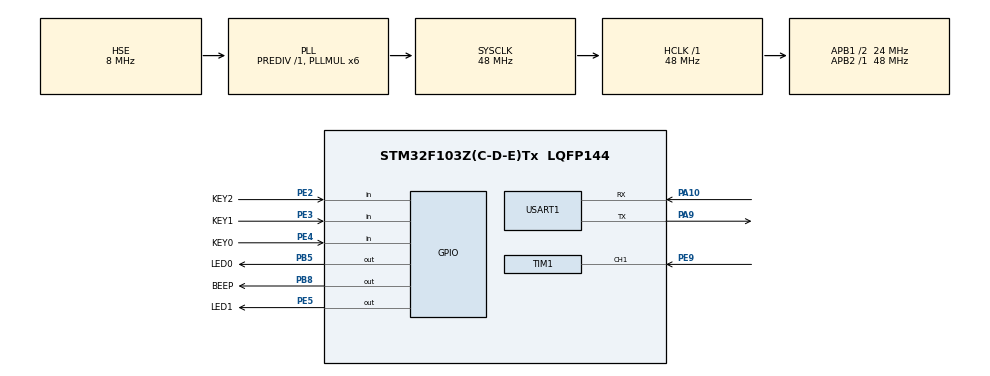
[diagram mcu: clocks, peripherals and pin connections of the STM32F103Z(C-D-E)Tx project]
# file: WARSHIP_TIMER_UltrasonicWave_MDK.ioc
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Mcu.Family=STM32F1
Mcu.Name=STM32F103Z(C-D-E)Tx
Mcu.Package=LQFP144
NVIC.PriorityGroup=NVIC_PRIORITYGROUP_4
NVIC.TIM1_UP_IRQn=true\:0\:0\:false\:false\:true\:true\:true\:true
NVIC.USART1_IRQn=true\:0\:0\:false\:false\:true\:true\:true\:true
OSC_IN.Mode=HSE-External-Oscillator
OSC_IN.Signal=RCC_OSC_IN
OSC_OUT.Mode=HSE-External-Oscillator
OSC_OUT.Signal=RCC_OSC_OUT
PA0-WKUP.Mode=SYS_WakeUp0
PA0-WKUP.Signal=SYS_WKUP
PA10.Mode=Asynchronous
PA10.Signal=USART1_RX
PA13.Mode=Serial_Wire
PA13.Signal=SYS_JTMS-SWDIO
PA14.Mode=Serial_Wire
PA14.Signal=SYS_JTCK-SWCLK
PA9.Mode=Asynchronous
PA9.Signal=USART1_TX
PB12.Signal=SPI2_NSS
PB5.GPIO_Label=LED0
PB5.GPIO_ModeDefaultOutputPP=GPIO_MODE_OUTPUT_OD
PB5.GPIO_PuPd=GPIO_NOPULL
PB5.PinState=GPIO_PIN_SET
PB5.Signal=GPIO_Output
PB8.GPIO_Label=BEEP
PB8.Signal=GPIO_Output
PC14-OSC32_IN.Mode=LSE-External-Oscillator
PC14-OSC32_IN.Signal=RCC_OSC32_IN
PC15-OSC32_OUT.Mode=LSE-External-Oscillator
PC15-OSC32_OUT.Signal=RCC_OSC32_OUT
PE2.GPIO_Label=KEY2
PE2.Signal=GPIO_Input
PE3.GPIO_Label=KEY1
PE3.Signal=GPIO_Input
PE4.GPIO_Label=KEY0
PE4.Signal=GPIO_Input
PE5.GPIO_Label=LED1
PE5.GPIO_ModeDefaultOutputPP=GPIO_MODE_OUTPUT_OD
PE5.GPIO_PuPd=GPIO_NOPULL
PE5.PinState=GPIO_PIN_SET
PE5.Signal=GPIO_Output
PE9.Signal=S_TIM1_CH1
ProjectManager.HeapSize=0x200
ProjectManager.StackSize=0x400
ProjectManager.TargetToolchain=MDK-ARM V5.32
RCC.ADCPresc=RCC_ADCPCLK2_DIV4
RCC.AHBFreq_Value=48000000
RCC.APB1CLKDivider=RCC_HCLK_DIV2
RCC.APB1Freq_Value=24000000
RCC.APB1TimFreq_Value=48000000
RCC.APB2Freq_Value=48000000
RCC.APB2TimFreq_Value=48000000
RCC.HCLKFreq_Value=48000000
RCC.PLLMUL=RCC_PLL_MUL6
RCC.PLLSourceVirtual=RCC_PLLSOURCE_HSE
RCC.SYSCLKFreq_VALUE=48000000
RCC.SYSCLKSource=RCC_SYSCLKSOURCE_PLLCLK
RCC.USBFreq_Value=48000000
SH.S_TIM1_CH1.0=TIM1_CH1,Input_Capture1_from_TI1
TIM1.AutoReloadPreload=TIM_AUTORELOAD_PRELOAD_ENABLE
TIM1.Channel-Input_Capture1_from_TI1=TIM_CHANNEL_1
TIM1.Channel-Input_Capture2_from_TI1_63=TIM_CHANNEL_2
TIM1.ICPolarity_CH2=TIM_INPUTCHANNELPOLARITY_FALLING
TIM1.Period=65535
TIM1.Prescaler=7
USART1.VirtualMode=VM_ASYNC
VP_RTC_VS_RTC_Activate.Mode=RTC_Enabled
VP_TIM1_VS_ClockSourceINT.Mode=Internal
VP_TIM1_VS_indirect_ch1.Mode=Input_Capture2_from_TI1_63
board=custom

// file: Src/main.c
/* USER CODE BEGIN Header */
/**
  ******************************************************************************
  * @file           : main.c
  * @brief          : Main program body
  ******************************************************************************
  * @attention
  *
  * Copyright (c) 2026 STMicroelectronics.
  * All rights reserved.
  *
  * This software is licensed under terms that can be found in the LICENSE file
  * in the root directory of this software component.
  * If no LICENSE file comes with this software, it is provided AS-IS.
  *
  ******************************************************************************
  */
/* USER CODE END Header */
#include "main.h"
#include "rtc.h"
#include "tim.h"
#include "usart.h"
#include "gpio.h"

void SystemClock_Config(void);

int main(void)
{

  /* MCU Configuration--------------------------------------------------------*/

  /* Reset of all peripherals, Initializes the Flash interface and the Systick. */
  HAL_Init();

  /* Configure the system clock */
  SystemClock_Config();

  /* Initialize all configured peripherals */
  MX_GPIO_Init();
  MX_RTC_Init();
  MX_USART1_UART_Init();
  MX_TIM1_Init();

  /* Infinite loop */
  /* USER CODE BEGIN WHILE */
  while (1)
  {
    __HAL_TIM_SET_COUNTER(&htim1,0); // reset counter

    __HAL_TIM_CLEAR_FLAG(&htim1,TIM_FLAG_CC1); // clear capture flag CC1
    __HAL_TIM_CLEAR_FLAG(&htim1,TIM_FLAG_CC2); // clear capture flag CC2

    HAL_TIM_IC_Start(&htim1,TIM_CHANNEL_1); // start input capture on channel 1
    HAL_TIM_IC_Start(&htim1,TIM_CHANNEL_2); // start input capture on channel 2

    HAL_GPIO_WritePin(KEY2_GPIO_Port,KEY2_Pin,GPIO_PIN_SET); // set KEY2 low to start measurement

    for(uint32_t i=0;i<10;i++); // small delay to allow signal to stabilize 10us

    HAL_GPIO_WritePin(KEY2_GPIO_Port,KEY2_Pin,GPIO_PIN_RESET); // set KEY2 high to end measurement

    uint8_t success = 0;
    uint32_t expireTime = HAL_GetTick() + 50;

    while(expireTime > HAL_GetTick())
    {
      uint32_t cc1Flag = __HAL_TIM_GET_FLAG(&htim1,TIM_FLAG_CC1); // read capture flag CC1
      uint32_t cc2Flag = __HAL_TIM_GET_FLAG(&htim1,TIM_FLAG_CC2); // read capture flag CC2
      if(cc1Flag && cc2Flag)
      {
        success = 1;
        break;
      }
    }

    HAL_TIM_IC_Stop(&htim1,TIM_CHANNEL_1); // stop input capture on channel 1
    HAL_TIM_IC_Stop(&htim1,TIM_CHANNEL_2); // stop input capture on channel 2

    if(success)
    {
      uint16_t ccr1 = __HAL_TIM_GET_COMPARE(&htim1,TIM_CHANNEL_1); // read captured value CC1
      uint16_t ccr2 = __HAL_TIM_GET_COMPARE(&htim1,TIM_CHANNEL_2); // read captured value CC2

      float pulseWidth = (ccr2 - ccr1) * 1e-6f; // calculate pulse width in seconds (assuming 1 MHz timer
      float distance = 340.0f * pulseWidth / 2.0f; // calculate distance in meters

      if(distance < 0.2)
      {
        HAL_GPIO_WritePin(LED1_GPIO_Port,LED1_Pin,GPIO_PIN_RESET); // turn on LED1 if object is closer than 20 cm
      }
      else
      {
        HAL_GPIO_WritePin(LED1_GPIO_Port,LED1_Pin,GPIO_PIN_SET); // turn off LED1 otherwise
      }
    }

    /* USER CODE END WHILE */

  }
}

void SystemClock_Config(void)
{
  RCC_OscInitTypeDef RCC_OscInitStruct = {0};
  RCC_ClkInitTypeDef RCC_ClkInitStruct = {0};
  RCC_PeriphCLKInitTypeDef PeriphClkInit = {0};

  /** Initializes the RCC Oscillators according to the specified parameters
  * in the RCC_OscInitTypeDef structure.
  */
  RCC_OscInitStruct.OscillatorType = RCC_OSCILLATORTYPE_LSI|RCC_OSCILLATORTYPE_HSE;
  RCC_OscInitStruct.HSEState = RCC_HSE_ON;
  RCC_OscInitStruct.HSEPredivValue = RCC_HSE_PREDIV_DIV1;
  RCC_OscInitStruct.HSIState = RCC_HSI_ON;
  RCC_OscInitStruct.LSIState = RCC_LSI_ON;
  RCC_OscInitStruct.PLL.PLLState = RCC_PLL_ON;
  RCC_OscInitStruct.PLL.PLLSource = RCC_PLLSOURCE_HSE;
  RCC_OscInitStruct.PLL.PLLMUL = RCC_PLL_MUL6;
  if (HAL_RCC_OscConfig(&RCC_OscInitStruct) != HAL_OK)
  {
    Error_Handler();
  }

  /** Initializes the CPU, AHB and APB buses clocks
  */
  RCC_ClkInitStruct.ClockType = RCC_CLOCKTYPE_HCLK|RCC_CLOCKTYPE_SYSCLK
                              |RCC_CLOCKTYPE_PCLK1|RCC_CLOCKTYPE_PCLK2;
  RCC_ClkInitStruct.SYSCLKSource = RCC_SYSCLKSOURCE_PLLCLK;
  RCC_ClkInitStruct.AHBCLKDivider = RCC_SYSCLK_DIV1;
  RCC_ClkInitStruct.APB1CLKDivider = RCC_HCLK_DIV2;
  RCC_ClkInitStruct.APB2CLKDivider = RCC_HCLK_DIV1;

  if (HAL_RCC_ClockConfig(&RCC_ClkInitStruct, FLASH_LATENCY_1) != HAL_OK)
  {
    Error_Handler();
  }
  PeriphClkInit.PeriphClockSelection = RCC_PERIPHCLK_RTC;
  PeriphClkInit.RTCClockSelection = RCC_RTCCLKSOURCE_LSI;
  if (HAL_RCCEx_PeriphCLKConfig(&PeriphClkInit) != HAL_OK)
  {
    Error_Handler();
  }
}

void Error_Handler(void)
{
  __disable_irq();
  while (1)
  {
  }
}
